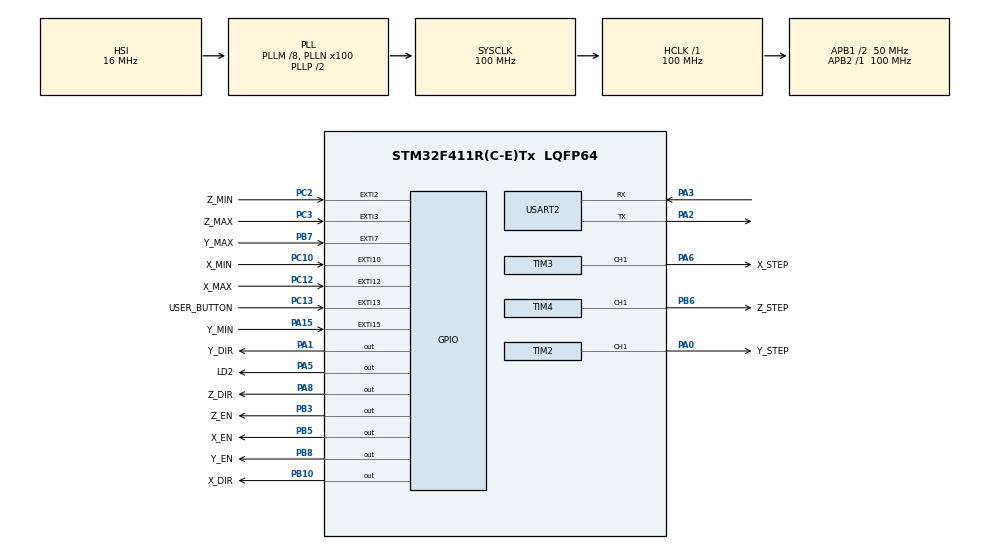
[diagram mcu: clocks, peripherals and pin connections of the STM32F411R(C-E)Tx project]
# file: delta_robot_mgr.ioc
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Mcu.Family=STM32F4
VP_TIM5_VS_ClockSourceINT.Mode=Internal
RCC.CortexFreq_Value=100000000
PC10.GPIO_PuPd=GPIO_PULLDOWN
Dma.USART2_TX.0.PeriphDataAlignment=DMA_PDATAALIGN_BYTE
PC10.Signal=GPXTI10
PC12.Signal=GPXTI12
NVIC.EXTI3_IRQn=true\:1\:0\:true\:false\:true\:true\:true
PA6.GPIO_Label=X_STEP
PB6.GPIO_Label=Z_STEP
Dma.USART2_TX.0.FIFOMode=DMA_FIFOMODE_DISABLE
RCC.SYSCLKSource=RCC_SYSCLKSOURCE_PLLCLK
ProjectManager.StackSize=0x400
PA15.GPIO_Label=Y_MIN
Dma.USART2_TX.0.Priority=DMA_PRIORITY_LOW
RCC.HCLKFreq_Value=100000000
RCC.APB2TimFreq_Value=100000000
TIM3.Period=3
PB6.Signal=S_TIM4_CH1
PC7.Signal=S_TIM3_CH2
PC3.Signal=GPXTI3
RCC.AHBFreq_Value=100000000
TIM3.Channel-PWM\ Generation1\ CH1=TIM_CHANNEL_1
NVIC.EXTI15_10_IRQn=true\:1\:0\:true\:false\:true\:true\:true
RCC.HSE_VALUE=25000000
PC13-ANTI_TAMP.Signal=GPXTI13
NVIC.TIM2_IRQn=true\:1\:0\:true\:false\:true\:true\:true
PB7.Signal=GPXTI7
PA8.Signal=GPIO_Output
Dma.USART2_TX.0.MemDataAlignment=DMA_MDATAALIGN_BYTE
TIM2.Channel-PWM\ Generation1\ CH1=TIM_CHANNEL_1
SH.S_TIM3_CH1.0=TIM3_CH1,PWM Generation1 CH1
TIM4.Period=3
Dma.USART2_TX.0.Direction=DMA_MEMORY_TO_PERIPH
Dma.USART2_TX.0.Instance=DMA1_Stream6
PB7.GPIO_Label=Y_MAX
Mcu.Package=LQFP64
PA6.Signal=S_TIM3_CH1
USART2.VirtualMode=VM_ASYNC
PA15.Signal=GPXTI15
Dma.USART2_TX.0.Mode=DMA_NORMAL
PB5.GPIO_Label=X_EN
NVIC.EXTI2_IRQn=true\:1\:0\:true\:false\:true\:true\:true
SH.S_TIM4_CH1.0=TIM4_CH1,PWM Generation1 CH1
RCC.APB1TimFreq_Value=100000000
PC12.GPIO_PuPd=GPIO_PULLDOWN
NVIC.DMA1_Stream6_IRQn=true\:2\:0\:true\:false\:true\:false\:true
Dma.Request0=USART2_TX
PC2.GPIO_Label=Z_MIN
VP_TIM3_VS_ClockSourceINT.Mode=Internal
PA3.Signal=USART2_RX
PB3.GPIO_Label=Z_EN
PB7.GPIO_PuPd=GPIO_PULLDOWN
TIM4.Channel-PWM\ Generation1\ CH1=TIM_CHANNEL_1
Dma.USART2_TX.0.MemInc=DMA_MINC_ENABLE
PC10.GPIO_Label=X_MIN
PC13-ANTI_TAMP.GPIO_Label=USER_BUTTON
PC2.Signal=GPXTI2
RCC.APB1CLKDivider=RCC_HCLK_DIV2
NVIC.USART2_IRQn=true\:2\:0\:true\:false\:true\:true\:true
PA0-WKUP.GPIO_Label=Y_STEP
PA0-WKUP.Signal=S_TIM2_CH1_ETR
PA3.Mode=Asynchronous
PB8.GPIO_Label=Y_EN
PA8.GPIO_Label=Z_DIR
ProjectManager.TargetToolchain=STM32CubeIDE
PB10.GPIO_Label=X_DIR
RCC.LSE_VALUE=32768
PA1.Signal=GPIO_Output
PB10.Signal=GPIO_Output
PA5.Signal=GPIO_Output
SH.S_TIM3_CH2.0=TIM3_CH2
board=custom
RCC.VCOOutputFreq_Value=200000000
NVIC.TIM3_IRQn=true\:1\:0\:true\:false\:true\:true\:true
RCC.APB2Freq_Value=100000000
VP_TIM2_VS_ClockSourceINT.Mode=Internal
PA1.GPIO_Label=Y_DIR
PC2.GPIO_PuPd=GPIO_PULLDOWN
TIM2.Period=3
Mcu.Name=STM32F411R(C-E)Tx
PA2.Signal=USART2_TX
PC7.GPIO_Label=X_STEP
RCC.48MHZClocksFreq_Value=50000000
PB3.Signal=GPIO_Output
RCC.SYSCLKFreq_VALUE=100000000
PB5.Signal=GPIO_Output
Dma.USART2_TX.0.PeriphInc=DMA_PINC_DISABLE
PA5.GPIO_Label=LD2
PC12.GPIO_Label=X_MAX
SH.S_TIM2_CH1_ETR.0=TIM2_CH1,PWM Generation1 CH1
NVIC.EXTI9_5_IRQn=true\:1\:0\:true\:false\:true\:true\:true
ProjectManager.HeapSize=0x200
RCC.HSI_VALUE=16000000
VP_TIM4_VS_ClockSourceINT.Mode=Internal
NVIC.PriorityGroup=NVIC_PRIORITYGROUP_4
RCC.PLLM=8
RCC.PLLN=100
PA15.GPIO_PuPd=GPIO_PULLDOWN
PA2.Mode=Asynchronous
PB8.Signal=GPIO_Output
PC3.GPIO_Label=Z_MAX
NVIC.TIM4_IRQn=true\:1\:0\:true\:false\:true\:true\:true
RCC.APB1Freq_Value=50000000
PC3.GPIO_PuPd=GPIO_PULLDOWN

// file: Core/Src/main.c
/* USER CODE BEGIN Header */
/**
  ******************************************************************************
  * @file           : main.c
  * @brief          : Main program body
  ******************************************************************************
  * @attention
  *
  * <h2><center>&copy; Copyright (c) 2020 STMicroelectronics.
  * All rights reserved.</center></h2>
  *
  * This software component is licensed by ST under BSD 3-Clause license,
  * the "License"; You may not use this file except in compliance with the
  * License. You may obtain a copy of the License at:
  *                        opensource.org/licenses/BSD-3-Clause
  *
  ******************************************************************************
  */
/* USER CODE END Header */

#include "main.h"
#include "dma.h"
#include "tim.h"
#include "usart.h"
#include "gpio.h"

/* USER CODE BEGIN Includes */

#include <stdbool.h>
#include <string.h>
#include <stdio.h>

#include "stepper.h"
#include "interpolation.h"
#include "uart_protocol.h"
#include "delta_kinematics.h"
#include "limit_switch.h"

/* USER CODE END Includes */

/* USER CODE BEGIN PV */

int robot_w_trakcie_ruchu;

/* USER CODE END PV */

void SystemClock_Config(void);

/* USER CODE BEGIN 0 */

/*
void HAL_GPIO_EXTI_Callback(uint16_t GPIO_Pin){
	if (GPIO_Pin == X_MIN_Pin || X_MAX_Pin || Y_MIN_Pin || Y_MAX_Pin || Z_MIN_Pin || Z_MAX_Pin){
		HAL_GPIO_TogglePin(LD2_GPIO_Port, LD2_Pin);
		Stepper_EndStopHandler();
	}
	if (GPIO_Pin == USER_BUTTON_Pin){
		stan = 1;
	}
}
*/

void skalowanie(punkt_kartezjanski *wyskalowany,
				punkt_kartezjanski *pt_str,
				punkt_kartezjanski *pt_kon)
{
	float droga_do_przebycia_x = (pt_kon->x - pt_str->x) * 0.326797F * 1.063830F;
	float droga_do_przebycia_y = (pt_kon->y - pt_str->y) * 0.543478F * 1.204819F;  //1.155942F
	float droga_do_przebycia_z = (pt_kon->z - pt_str->z) * 1.250000F * 1.086957F;

	wyskalowany->x = pt_str->x + droga_do_przebycia_x;
	wyskalowany->y = pt_str->y + droga_do_przebycia_y;
	wyskalowany->z = pt_str->z + droga_do_przebycia_z;

	//printf("wyskalowany: X: %.3f   Y: %.3f   Z: %.3f\n", wyskalowany->x, wyskalowany->y, wyskalowany->z);
}

/* USER CODE END 0 */

int main(void)
{

  /* MCU Configuration--------------------------------------------------------*/

  /* Reset of all peripherals, Initializes the Flash interface and the Systick. */
  HAL_Init();

  /* Configure the system clock */
  SystemClock_Config();

  /* Initialize all configured peripherals */
  MX_GPIO_Init();
  MX_DMA_Init();
  MX_TIM2_Init();
  MX_TIM3_Init();
  MX_TIM4_Init();
  MX_USART2_UART_Init();
  MX_TIM5_Init();
  /* USER CODE BEGIN 2 */

  Stepper_Disable(&lista_silnikow[0]);
  Stepper_Disable(&lista_silnikow[1]);
  Stepper_Disable(&lista_silnikow[2]);

  robot_w_trakcie_ruchu = 0;
  kalibracja_wykonana = 0;

  punkt_kartezjanski punkt_startowy = {};
  punkt_kartezjanski punkt_koncowy = {};

  punkt_startowy.x = 0;
  punkt_startowy.y = 0;
  punkt_startowy.z = 0;

  Stepper_Init();

  /* USER CODE END 2 */

  /* Infinite loop */
  /* USER CODE BEGIN WHILE */
  while (1)
  {
	  uint8_t value;
	  if (HAL_UART_Receive(&huart2, &value, 1, 0) == HAL_OK)
		  odbior_danych_z_aplikacji(value);
/*
	  if (stan1 == 1)
	  	  {

	  		  float lengths[3] = { 0 };

	  		  int res = 1;
	  		  punkt_kartezjanski p_str = {};
	  		  punkt_kartezjanski p_end = {};

	  		  p_str.x = 0;
	  		  p_str.y = 0;
	  		  p_str.z = 0;

	  		  p_end.x = 0;
	  		  p_end.y = 0;
	  		  p_end.z = -20;

	  		  lista_silnikow[0].absPos = -361.263702;
	  		  lista_silnikow[1].absPos = -415.196625;
	  		  lista_silnikow[2].absPos = -415.196625;

	  		  //Stepper_Init();

	  		  //kalibracja_krancowek();

	  		  //while(kalibracja_wykonana != 1) {}

	  		  liniowa_interpolacja(p_str, p_end, res, 50, 100);

	  		  Stepper_Init();
	  		  //Stepper_EnableAll();

	  		  //Stepper_moveAbsPos(&sList[2], 440, 4);

	  		  for (uint8_t i = 1; i <= res; i++)
	  		  {
	  			  odwrotna_kinematyka(lengths, trajektoria_liniowa[i].wektor);

	  			  Stepper_EnableAll();

	  		  	  Stepper_moveAbsPos(&lista_silnikow[0], lengths[0], 13);    //(sList[0].absPos - lengths[0]) / traj_lin[i].t)

	  		  	  Stepper_moveAbsPos(&lista_silnikow[1], lengths[1], 13);

	  		  	  Stepper_moveAbsPos(&lista_silnikow[2], lengths[2], 13);
	  		  	  while(lista_silnikow[0].moving_f == 1) {}
	  		  	  while(lista_silnikow[1].moving_f == 1) {}
	  		  	  while(lista_silnikow[2].moving_f == 1) {}
	  		  	  //while(lista_silnikow[0].moving_f == 1 || lista_silnikow[1].moving_f == 1 || lista_silnikow[2].moving_f == 1) {}

	  		  }

	  		  stan1 = 0;
	  	  }
*/

	  //glowny program
	  if (stan1 == 1)
	  {
		  //kalibracja_krancowek();

		  //punkt_startowy.x = 0;
		  //punkt_startowy.y = 0;
		  //punkt_startowy.z = 0;

		  //while(kalibracja_wykonana != 1) {}

		  lista_silnikow[0].absPos = -361.263702;
		  lista_silnikow[1].absPos = -415.196625;
		  lista_silnikow[2].absPos = -415.196625;

		  kalibracja_wykonana = 1;

		  stan1 = 0;
	  }

	  if (ruch_robotem == 1 && podczas_kalibracji == 0 && kalibracja_wykonana == 1 && robot_w_trakcie_ruchu == 0)
	  {
		  robot_w_trakcie_ruchu = 1;

		  float lengths_przeskalowane[3] = { 0 };
		  float lengths[3] = { 0 };

		  punkt_koncowy.x = wspolrzedna_X;
		  punkt_koncowy.y = wspolrzedna_Y;
		  punkt_koncowy.z = wspolrzedna_Z;

		  int rozdzielczosc = rozdzielczosc_interpolacji;

		  if (punkt_startowy.x == punkt_koncowy.x && punkt_startowy.y == punkt_koncowy.y && punkt_startowy.z == punkt_koncowy.z)
		  {
			  printf("Efektor sie nie przemiesci bo podano punkt, w ktorym sie znajduje teraz!\n");
			  robot_w_trakcie_ruchu = 0;
			  ruch_robotem = 0;
			  continue;
		  }

		  punkt_kartezjanski wyskalowany_punkt_koncowy = {};
		  skalowanie(&wyskalowany_punkt_koncowy, &punkt_startowy, &punkt_koncowy);

		  if (rodzaj_interpolacji == 1)
		  {

			  liniowa_interpolacja(punkt_startowy, wyskalowany_punkt_koncowy, rozdzielczosc, 50, 100);

			  for (int i = 1; i <= rozdzielczosc; i++)
			  {
				  odwrotna_kinematyka(lengths_przeskalowane, trajektoria_liniowa[i].wektor);

				  float diff_lengths1 = (lengths_przeskalowane[1] - lista_silnikow[1].absPos) * 0.893;
				  float diff_lengths2 = (lengths_przeskalowane[2] - lista_silnikow[2].absPos) * 0.893;
				  lengths_przeskalowane[1] = lista_silnikow[1].absPos + diff_lengths1;
				  lengths_przeskalowane[2] = lista_silnikow[2].absPos + diff_lengths2;

				  Stepper_EnableAll();										//(sList[0].absPos - lengths[0]) / traj_lin[i].t)

			  	  Stepper_moveAbsPos(&lista_silnikow[0], lengths_przeskalowane[0], 13);
			  	  Stepper_moveAbsPos(&lista_silnikow[1], lengths_przeskalowane[1], 13);
			  	  Stepper_moveAbsPos(&lista_silnikow[2], lengths_przeskalowane[2], 13);

			  	  while(lista_silnikow[0].moving_f == 1 || lista_silnikow[1].moving_f == 1 || lista_silnikow[2].moving_f == 1) {}

			  }
		  }
		  else if (rodzaj_interpolacji == 2)
		  {
			  przegubowa_interpolacja(punkt_startowy, wyskalowany_punkt_koncowy, rozdzielczosc, 50, 100);

			  for (int i = 1; i <= rozdzielczosc; i++)
			  {
				  odwrotna_kinematyka(lengths_przeskalowane, droga_przegubowa[i].wektor);

				  float diff_lengths1 = (lengths_przeskalowane[1] - lista_silnikow[1].absPos) * 0.893;
				  float diff_lengths2 = (lengths_przeskalowane[2] - lista_silnikow[2].absPos) * 0.893;
				  lengths_przeskalowane[1] = lista_silnikow[1].absPos + diff_lengths1;
				  lengths_przeskalowane[2] = lista_silnikow[2].absPos + diff_lengths2;

				  Stepper_EnableAll();

			  	  Stepper_moveAbsPos(&lista_silnikow[0], lengths_przeskalowane[0], 13);
			  	  Stepper_moveAbsPos(&lista_silnikow[1], lengths_przeskalowane[1], 13);
			  	  Stepper_moveAbsPos(&lista_silnikow[2], lengths_przeskalowane[2], 13);

			  	  while(lista_silnikow[0].moving_f == 1 || lista_silnikow[1].moving_f == 1 || lista_silnikow[2].moving_f == 1) {}
			  }
		  }
		  else if (rodzaj_interpolacji == 3)
		  {
			  kolowa_interpolacja(punkt_startowy, wyskalowany_punkt_koncowy, 40, rozdzielczosc, 50, 100);
			  for (int i = 1; i <= rozdzielczosc; i++)
			  {
				  odwrotna_kinematyka(lengths_przeskalowane, trajektoria_kolowa[i].wektor);

				  float diff_lengths1 = (lengths_przeskalowane[1] - lista_silnikow[1].absPos) * 0.893;
				  float diff_lengths2 = (lengths_przeskalowane[2] - lista_silnikow[2].absPos) * 0.893;
				  lengths_przeskalowane[1] = lista_silnikow[1].absPos + diff_lengths1;
				  lengths_przeskalowane[2] = lista_silnikow[2].absPos + diff_lengths2;

				  Stepper_EnableAll();

				  Stepper_moveAbsPos(&lista_silnikow[0], lengths_przeskalowane[0], 7);
				  Stepper_moveAbsPos(&lista_silnikow[1], lengths_przeskalowane[1], 7);
				  Stepper_moveAbsPos(&lista_silnikow[2], lengths_przeskalowane[2], 7);

				  while(lista_silnikow[0].moving_f == 1 || lista_silnikow[1].moving_f == 1 || lista_silnikow[2].moving_f == 1) {}
			  }
		  }
		  odwrotna_kinematyka(lengths, punkt_koncowy.wektor);
		  lista_silnikow[0].absPos = lengths[0];
		  lista_silnikow[1].absPos = lengths[1];
		  lista_silnikow[2].absPos = lengths[2];

		  punkt_startowy.x = wspolrzedna_X;
		  punkt_startowy.y = wspolrzedna_Y;
		  punkt_startowy.z = wspolrzedna_Z;

		  robot_w_trakcie_ruchu = 0;
		  ruch_robotem = 0;
	  }
	  else
	  {
		  ruch_robotem = 0;
	  }

    /* USER CODE END WHILE */

  }
}

void SystemClock_Config(void)
{
  RCC_OscInitTypeDef RCC_OscInitStruct = {0};
  RCC_ClkInitTypeDef RCC_ClkInitStruct = {0};

  /** Configure the main internal regulator output voltage
  */
  __HAL_RCC_PWR_CLK_ENABLE();
  __HAL_PWR_VOLTAGESCALING_CONFIG(PWR_REGULATOR_VOLTAGE_SCALE1);
  /** Initializes the CPU, AHB and APB busses clocks
  */
  RCC_OscInitStruct.OscillatorType = RCC_OSCILLATORTYPE_HSI;
  RCC_OscInitStruct.HSIState = RCC_HSI_ON;
  RCC_OscInitStruct.HSICalibrationValue = RCC_HSICALIBRATION_DEFAULT;
  RCC_OscInitStruct.PLL.PLLState = RCC_PLL_ON;
  RCC_OscInitStruct.PLL.PLLSource = RCC_PLLSOURCE_HSI;
  RCC_OscInitStruct.PLL.PLLM = 8;
  RCC_OscInitStruct.PLL.PLLN = 100;
  RCC_OscInitStruct.PLL.PLLP = RCC_PLLP_DIV2;
  RCC_OscInitStruct.PLL.PLLQ = 4;
  if (HAL_RCC_OscConfig(&RCC_OscInitStruct) != HAL_OK)
  {
    Error_Handler();
  }
  /** Initializes the CPU, AHB and APB busses clocks
  */
  RCC_ClkInitStruct.ClockType = RCC_CLOCKTYPE_HCLK|RCC_CLOCKTYPE_SYSCLK
                              |RCC_CLOCKTYPE_PCLK1|RCC_CLOCKTYPE_PCLK2;
  RCC_ClkInitStruct.SYSCLKSource = RCC_SYSCLKSOURCE_PLLCLK;
  RCC_ClkInitStruct.AHBCLKDivider = RCC_SYSCLK_DIV1;
  RCC_ClkInitStruct.APB1CLKDivider = RCC_HCLK_DIV2;
  RCC_ClkInitStruct.APB2CLKDivider = RCC_HCLK_DIV1;

  if (HAL_RCC_ClockConfig(&RCC_ClkInitStruct, FLASH_LATENCY_3) != HAL_OK)
  {
    Error_Handler();
  }
}

void Error_Handler(void)
{
}

/************************ (C) COPYRIGHT STMicroelectronics *****END OF FILE****/
